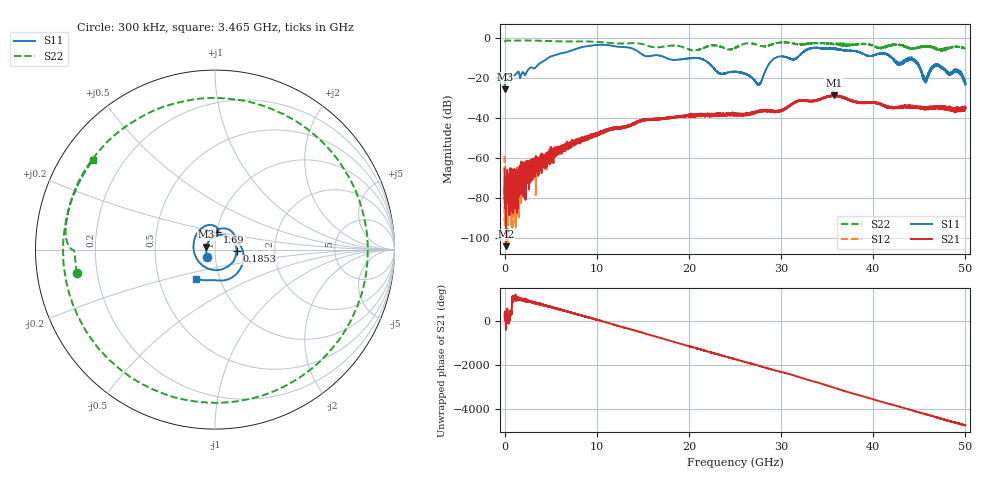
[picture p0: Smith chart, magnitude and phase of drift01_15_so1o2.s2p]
!Created with skrf (http://scikit-rf.org).
# Hz S RI R 50.0
!freq ReS11 ImS11 ReS21 ImS21 ReS12 ImS12 ReS22 ImS22
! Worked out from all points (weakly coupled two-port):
!   10001 points, 300 kHz to 50 GHz, reference 50 ohm
!   highest |S21| = -28.76 dB at 35.71 GHz (marker M1); lowest = -104.2 dB at 160.3 MHz (marker M2)
!   lowest |S11| = -25.8 dB at 5.3 MHz (marker M3), VSWR 1.11, Z = 45.3 + j1.42 ohm
!   |S11| at or under -10 dB: start of sweep to 4.765 GHz; 17.5 GHz to 29.41 GHz (11.91 GHz wide, 50.8 % of centre); 44.19 GHz to end of sweep (the widest 3 of 14)
!   |S22| runs from -6.6 to -1.4 dB; largest |S21 - S12| = 0.0035
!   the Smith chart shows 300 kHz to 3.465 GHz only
!   S11 on the Smith chart (normalised r, x): 300 kHz: 0.91, -0.08; 185.3 MHz: 1.27, -0.02; 1.69 GHz: 1.00, +0.20; 3.465 GHz: 0.77, -0.26
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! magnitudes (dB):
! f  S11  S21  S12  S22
! 300 kHz  -23.9  -65.5  -59.1  -2.1
! 5.3 MHz  -25.8  -70.3  -78.3  -2.1
! 160.3 MHz  -18.5  -104.2  -78.8  -1.4
! 185.3 MHz  -18.4  -77.9  -83.5  -1.4
! 1.69 GHz  -20.1  -66.5  -71.4  -1.4
! 3.465 GHz  -14.3  -63.3  -61.8  -1.5
! 8.335 GHz  -4.8  -51.9  -50.8  -1.8
! 16.67 GHz  -8.8  -40.6  -40.4  -4.8
! 21.14 GHz  -10.3  -38.4  -38.2  -5.9
! 25 GHz  -17.0  -39.0  -38.9  -5.1
! 27.58 GHz  -23.6  -36.8  -36.6  -3.8
! 29.28 GHz  -10.3  -37.3  -36.9  -2.8
! 31.45 GHz  -10.8  -32.4  -32.5  -3.0
! 33.34 GHz  -5.2  -31.8  -31.5  -2.7
! 35.71 GHz  -5.4  -28.8  -29.1  -3.0
! 41.67 GHz  -8.8  -34.7  -34.9  -4.2
! 42.74 GHz  -12.6  -34.7  -34.8  -3.3
! 44.41 GHz  -10.8  -34.6  -34.3  -5.3
! 45.63 GHz  -21.3  -35.1  -35.1  -4.3
! 46.95 GHz  -13.4  -34.4  -34.8  -5.5
! 49.26 GHz  -16.8  -35.7  -35.7  -4.6
! 50 GHz  -22.7  -35.2  -34.9  -5.4
